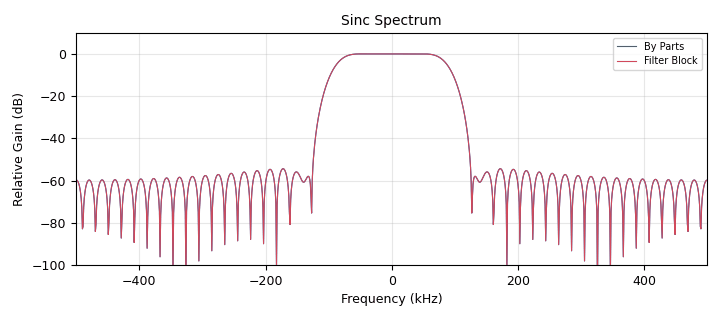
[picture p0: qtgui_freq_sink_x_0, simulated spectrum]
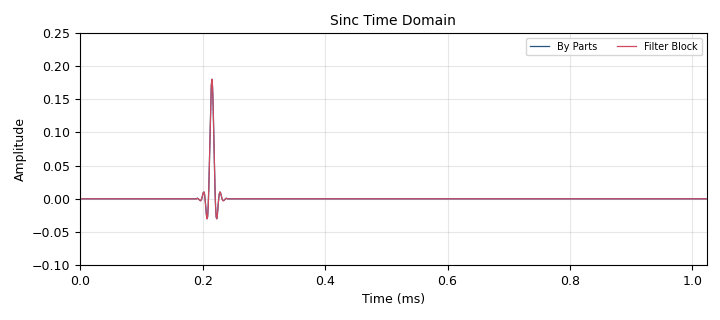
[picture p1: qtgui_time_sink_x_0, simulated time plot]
options:
  parameters:
    author: Gary Schafer
    generate_options: qt_gui
    id: basicSincSpectrumByParts
    output_language: python
    title: Sinc Time Domain = Square Spectrum (By Parts)
  states: {}

blocks:
- name: N
  id: variable
  parameters:
    value: 2**10
  states: {}
- name: lpf
  id: variable
  parameters:
    value: sig.firwin(49,90e3,window='hamming',fs=samp_rate)
  states: {}
- name: lpfLength
  id: variable
  parameters:
    value: len(lpf)
  states: {}
- name: samp_rate
  id: variable
  parameters:
    value: 1e6
  states: {}
- name: blocks_add_xx_0
  id: blocks_add_xx
  parameters:
    num_inputs: lpfLength
    type: float
  states: {}
- name: blocks_delay_0
  id: blocks_delay
  parameters:
    delay: '1'
    type: float
  states: {}
- name: blocks_delay_0_0
  id: blocks_delay
  parameters:
    delay: '1'
    type: float
  states: {}
- name: blocks_delay_0_1
  id: blocks_delay
  parameters:
    delay: '1'
    type: float
  states: {}
- name: blocks_delay_0_2
  id: blocks_delay
  parameters:
    delay: '1'
    type: float
  states: {}
- name: blocks_delay_0_2_0
  id: blocks_delay
  parameters:
    comment: '20'
    delay: '1'
    type: float
  states: {}
- name: blocks_delay_0_2_1
  id: blocks_delay
  parameters:
    comment: '10'
    delay: '1'
    type: float
  states: {}
- name: blocks_delay_0_3
  id: blocks_delay
  parameters:
    comment: '30'
    delay: '1'
    type: float
  states: {}
- name: blocks_delay_0_3_0
  id: blocks_delay
  parameters:
    delay: '1'
    type: float
  states: {}
- name: blocks_delay_0_3_1
  id: blocks_delay
  parameters:
    delay: '1'
    type: float
  states: {}
- name: blocks_delay_0_3_1_0
  id: blocks_delay
  parameters:
    delay: '1'
    type: float
  states: {}
- name: blocks_delay_0_4
  id: blocks_delay
  parameters:
    delay: '1'
    type: float
  states: {}
- name: blocks_delay_1
  id: blocks_delay
  parameters:
    comment: '45'
    delay: '1'
    type: float
  states: {}
- name: blocks_delay_1_0
  id: blocks_delay
  parameters:
    delay: '1'
    type: float
  states: {}
- name: blocks_delay_1_0_0
  id: blocks_delay
  parameters:
    comment: '47'
    delay: '1'
    type: float
  states: {}
- name: blocks_delay_1_0_0_0
  id: blocks_delay
  parameters:
    delay: '1'
    type: float
  states: {}
- name: blocks_delay_1_0_0_0_0
  id: blocks_delay
  parameters:
    comment: '40'
    delay: '1'
    type: float
  states: {}
- name: blocks_delay_1_0_0_0_1
  id: blocks_delay
  parameters:
    delay: '1'
    type: float
  states: {}
- name: blocks_delay_1_0_0_0_1_0
  id: blocks_delay
  parameters:
    delay: '1'
    type: float
  states: {}
- name: blocks_delay_1_0_0_0_1_1
  id: blocks_delay
  parameters:
    delay: '1'
    type: float
  states: {}
- name: blocks_delay_1_0_0_0_2
  id: blocks_delay
  parameters:
    delay: '1'
    type: float
  states: {}
- name: blocks_delay_1_0_0_0_2_0
  id: blocks_delay
  parameters:
    delay: '1'
    type: float
  states: {}
- name: blocks_delay_1_0_0_0_2_1
  id: blocks_delay
  parameters:
    delay: '1'
    type: float
  states: {}
- name: blocks_delay_1_0_0_0_3
  id: blocks_delay
  parameters:
    delay: '1'
    type: float
  states: {}
- name: blocks_delay_1_0_0_0_3_0
  id: blocks_delay
  parameters:
    delay: '1'
    type: float
  states: {}
- name: blocks_delay_1_0_0_0_3_1
  id: blocks_delay
  parameters:
    delay: '1'
    type: float
  states: {}
- name: blocks_delay_1_0_0_0_3_1_0
  id: blocks_delay
  parameters:
    delay: '1'
    type: float
  states: {}
- name: blocks_delay_1_0_0_0_3_1_0_0
  id: blocks_delay
  parameters:
    comment: '0'
    delay: '1'
    type: float
  states: {}
- name: blocks_delay_1_0_0_0_4
  id: blocks_delay
  parameters:
    delay: '1'
    type: float
  states: {}
- name: blocks_delay_1_0_0_1
  id: blocks_delay
  parameters:
    delay: '1'
    type: float
  states: {}
- name: blocks_delay_1_0_0_2
  id: blocks_delay
  parameters:
    delay: '1'
    type: float
  states: {}
- name: blocks_delay_1_0_0_3
  id: blocks_delay
  parameters:
    comment: '35'
    delay: '1'
    type: float
  states: {}
- name: blocks_delay_1_0_0_3_0
  id: blocks_delay
  parameters:
    delay: '1'
    type: float
  states: {}
- name: blocks_delay_1_0_0_3_1
  id: blocks_delay
  parameters:
    delay: '1'
    type: float
  states: {}
- name: blocks_delay_1_0_0_4
  id: blocks_delay
  parameters:
    delay: '1'
    type: float
  states: {}
- name: blocks_delay_1_0_0_4_0
  id: blocks_delay
  parameters:
    delay: '1'
    type: float
  states: {}
- name: blocks_delay_1_0_0_4_1
  id: blocks_delay
  parameters:
    delay: '1'
    type: float
  states: {}
- name: blocks_delay_1_0_0_5
  id: blocks_delay
  parameters:
    delay: '1'
    type: float
  states: {}
- name: blocks_delay_1_1
  id: blocks_delay
  parameters:
    delay: '1'
    type: float
  states: {}
- name: blocks_delay_1_1_0
  id: blocks_delay
  parameters:
    delay: '1'
    type: float
  states: {}
- name: blocks_delay_1_1_1
  id: blocks_delay
  parameters:
    delay: '1'
    type: float
  states: {}
- name: blocks_delay_1_2
  id: blocks_delay
  parameters:
    delay: '1'
    type: float
  states: {}
- name: blocks_delay_1_2_0
  id: blocks_delay
  parameters:
    delay: '1'
    type: float
  states: {}
- name: blocks_delay_1_2_1
  id: blocks_delay
  parameters:
    delay: '1'
    type: float
  states: {}
- name: blocks_delay_1_3
  id: blocks_delay
  parameters:
    delay: '1'
    type: float
  states: {}
- name: blocks_delay_1_3_0
  id: blocks_delay
  parameters:
    comment: '15'
    delay: '1'
    type: float
  states: {}
- name: blocks_delay_1_3_1
  id: blocks_delay
  parameters:
    comment: '5'
    delay: '1'
    type: float
  states: {}
- name: blocks_delay_1_3_1_0
  id: blocks_delay
  parameters:
    delay: '1'
    type: float
  states: {}
- name: blocks_delay_1_4
  id: blocks_delay
  parameters:
    comment: '25'
    delay: '1'
    type: float
  states: {}
- name: blocks_multiply_const_vxx_0
  id: blocks_multiply_const_vxx
  parameters:
    comment: '48'
    const: lpf[48]
    type: float
  states: {}
- name: blocks_multiply_const_vxx_0_0
  id: blocks_multiply_const_vxx
  parameters:
    const: lpf[44]
    type: float
  states: {}
- name: blocks_multiply_const_vxx_0_0_0
  id: blocks_multiply_const_vxx
  parameters:
    const: lpf[46]
    type: float
  states: {}
- name: blocks_multiply_const_vxx_0_0_0_0
  id: blocks_multiply_const_vxx
  parameters:
    const: lpf[45]
    type: float
  states: {}
- name: blocks_multiply_const_vxx_0_0_0_0_0
  id: blocks_multiply_const_vxx
  parameters:
    const: lpf[47]
    type: float
  states: {}
- name: blocks_multiply_const_vxx_0_0_0_0_0_0
  id: blocks_multiply_const_vxx
  parameters:
    const: lpf[41]
    type: float
  states: {}
- name: blocks_multiply_const_vxx_0_0_0_0_0_0_0
  id: blocks_multiply_const_vxx
  parameters:
    const: lpf[36]
    type: float
  states: {}
- name: blocks_multiply_const_vxx_0_0_0_0_0_0_1
  id: blocks_multiply_const_vxx
  parameters:
    const: lpf[31]
    type: float
  states: {}
- name: blocks_multiply_const_vxx_0_0_0_0_0_0_2
  id: blocks_multiply_const_vxx
  parameters:
    const: lpf[26]
    type: float
  states: {}
- name: blocks_multiply_const_vxx_0_0_0_0_0_0_3
  id: blocks_multiply_const_vxx
  parameters:
    const: lpf[21]
    type: float
  states: {}
- name: blocks_multiply_const_vxx_0_0_0_0_0_0_4
  id: blocks_multiply_const_vxx
  parameters:
    const: lpf[15]
    type: float
  states: {}
- name: blocks_multiply_const_vxx_0_0_0_0_0_0_5
  id: blocks_multiply_const_vxx
  parameters:
    const: lpf[10]
    type: float
  states: {}
- name: blocks_multiply_const_vxx_0_0_0_0_0_0_6
  id: blocks_multiply_const_vxx
  parameters:
    const: lpf[5]
    type: float
  states: {}
- name: blocks_multiply_const_vxx_0_0_0_0_0_0_7
  id: blocks_multiply_const_vxx
  parameters:
    const: lpf[1]
    type: float
  states: {}
- name: blocks_multiply_const_vxx_0_0_0_0_0_0_7_0
  id: blocks_multiply_const_vxx
  parameters:
    const: lpf[0]
    type: float
  states: {}
- name: blocks_multiply_const_vxx_0_0_0_0_1
  id: blocks_multiply_const_vxx
  parameters:
    const: lpf[39]
    type: float
  states: {}
- name: blocks_multiply_const_vxx_0_0_0_0_1_0
  id: blocks_multiply_const_vxx
  parameters:
    const: lpf[34]
    type: float
  states: {}
- name: blocks_multiply_const_vxx_0_0_0_0_1_1
  id: blocks_multiply_const_vxx
  parameters:
    const: lpf[29]
    type: float
  states: {}
- name: blocks_multiply_const_vxx_0_0_0_0_1_2
  id: blocks_multiply_const_vxx
  parameters:
    const: lpf[23]
    type: float
  states: {}
- name: blocks_multiply_const_vxx_0_0_0_0_1_3
  id: blocks_multiply_const_vxx
  parameters:
    const: lpf[20]
    type: float
  states: {}
- name: blocks_multiply_const_vxx_0_0_0_0_1_4
  id: blocks_multiply_const_vxx
  parameters:
    const: lpf[14]
    type: float
  states: {}
- name: blocks_multiply_const_vxx_0_0_0_0_1_5
  id: blocks_multiply_const_vxx
  parameters:
    const: lpf[9]
    type: float
  states: {}
- name: blocks_multiply_const_vxx_0_0_0_0_1_6
  id: blocks_multiply_const_vxx
  parameters:
    const: lpf[4]
    type: float
  states: {}
- name: blocks_multiply_const_vxx_0_0_0_1
  id: blocks_multiply_const_vxx
  parameters:
    const: lpf[40]
    type: float
  states: {}
- name: blocks_multiply_const_vxx_0_0_0_1_0
  id: blocks_multiply_const_vxx
  parameters:
    const: lpf[35]
    type: float
  states: {}
- name: blocks_multiply_const_vxx_0_0_0_1_1
  id: blocks_multiply_const_vxx
  parameters:
    const: lpf[30]
    type: float
  states: {}
- name: blocks_multiply_const_vxx_0_0_0_1_2
  id: blocks_multiply_const_vxx
  parameters:
    const: lpf[25]
    type: float
  states: {}
- name: blocks_multiply_const_vxx_0_0_0_1_3
  id: blocks_multiply_const_vxx
  parameters:
    const: lpf[19]
    type: float
  states: {}
- name: blocks_multiply_const_vxx_0_0_0_1_4
  id: blocks_multiply_const_vxx
  parameters:
    const: lpf[16]
    type: float
  states: {}
- name: blocks_multiply_const_vxx_0_0_0_1_5
  id: blocks_multiply_const_vxx
  parameters:
    const: lpf[12]
    type: float
  states: {}
- name: blocks_multiply_const_vxx_0_0_0_1_6
  id: blocks_multiply_const_vxx
  parameters:
    const: lpf[7]
    type: float
  states: {}
- name: blocks_multiply_const_vxx_0_0_1
  id: blocks_multiply_const_vxx
  parameters:
    const: lpf[38]
    type: float
  states: {}
- name: blocks_multiply_const_vxx_0_0_1_0
  id: blocks_multiply_const_vxx
  parameters:
    const: lpf[33]
    type: float
  states: {}
- name: blocks_multiply_const_vxx_0_0_1_1
  id: blocks_multiply_const_vxx
  parameters:
    const: lpf[28]
    type: float
  states: {}
- name: blocks_multiply_const_vxx_0_0_1_2
  id: blocks_multiply_const_vxx
  parameters:
    const: lpf[24]
    type: float
  states: {}
- name: blocks_multiply_const_vxx_0_0_1_3
  id: blocks_multiply_const_vxx
  parameters:
    const: lpf[18]
    type: float
  states: {}
- name: blocks_multiply_const_vxx_0_0_1_4
  id: blocks_multiply_const_vxx
  parameters:
    const: lpf[13]
    type: float
  states: {}
- name: blocks_multiply_const_vxx_0_0_1_5
  id: blocks_multiply_const_vxx
  parameters:
    const: lpf[8]
    type: float
  states: {}
- name: blocks_multiply_const_vxx_0_0_1_6
  id: blocks_multiply_const_vxx
  parameters:
    const: lpf[3]
    type: float
  states: {}
- name: blocks_multiply_const_vxx_0_1
  id: blocks_multiply_const_vxx
  parameters:
    const: lpf[42]
    type: float
  states: {}
- name: blocks_multiply_const_vxx_0_1_0
  id: blocks_multiply_const_vxx
  parameters:
    const: lpf[37]
    type: float
  states: {}
- name: blocks_multiply_const_vxx_0_1_1
  id: blocks_multiply_const_vxx
  parameters:
    const: lpf[32]
    type: float
  states: {}
- name: blocks_multiply_const_vxx_0_1_2
  id: blocks_multiply_const_vxx
  parameters:
    const: lpf[27]
    type: float
  states: {}
- name: blocks_multiply_const_vxx_0_1_3
  id: blocks_multiply_const_vxx
  parameters:
    const: lpf[22]
    type: float
  states: {}
- name: blocks_multiply_const_vxx_0_1_4
  id: blocks_multiply_const_vxx
  parameters:
    const: lpf[17]
    type: float
  states: {}
- name: blocks_multiply_const_vxx_0_1_5
  id: blocks_multiply_const_vxx
  parameters:
    const: lpf[11]
    type: float
  states: {}
- name: blocks_multiply_const_vxx_0_1_6
  id: blocks_multiply_const_vxx
  parameters:
    const: lpf[6]
    type: float
  states: {}
- name: blocks_multiply_const_vxx_0_1_7
  id: blocks_multiply_const_vxx
  parameters:
    const: lpf[2]
    type: float
  states: {}
- name: blocks_multiply_const_vxx_0_1_8
  id: blocks_multiply_const_vxx
  parameters:
    const: lpf[43]
    type: float
  states: {}
- name: blocks_multiply_const_vxx_1
  id: blocks_multiply_const_vxx
  parameters:
    const: N
    type: float
  states: {}
- name: blocks_multiply_const_vxx_1_0
  id: blocks_multiply_const_vxx
  parameters:
    const: N
    type: float
  states: {}
- name: blocks_throttle_0
  id: blocks_throttle
  parameters:
    samples_per_second: samp_rate
    type: float
  states: {}
- name: blocks_vector_source_x_0
  id: blocks_vector_source_x
  parameters:
    repeat: 'True'
    type: float
    vector: (0,)*int(N/2-1)+(1,)+(0,)*int(N/2)
  states: {}
- name: fir_filter_xxx_0
  id: fir_filter_xxx
  parameters:
    decim: '1'
    taps: lpf
    type: fff
  states: {}
- name: import_0
  id: import
  parameters:
    imports: import numpy as np
  states: {}
- name: import_1
  id: import
  parameters:
    imports: import scipy.signal as sig
  states: {}
- name: qtgui_freq_sink_x_0
  id: qtgui_freq_sink_x
  parameters:
    bw: samp_rate
    color1: '"black"'
    fc: '0'
    fftsize: N
    grid: 'True'
    label1: By Parts
    label2: Filter Block
    name: Sinc Spectrum
    nconnections: '2'
    type: float
    width1: '2'
    wintype: window.WIN_RECTANGULAR
    ymin: '-100'
  states: {}
- name: qtgui_time_sink_x_0
  id: qtgui_time_sink_x
  parameters:
    color1: black
    grid: 'True'
    label1: By Parts
    label2: Filter Block
    name: Sinc Time Domain
    nconnections: '2'
    size: N
    srate: samp_rate
    type: float
    ymax: '0.25'
    ymin: '-0.1'
  states: {}

connections:
- [blocks_add_xx_0, '0', blocks_multiply_const_vxx_1, '0']
- [blocks_add_xx_0, '0', qtgui_time_sink_x_0, '0']
- [blocks_delay_0, '0', blocks_delay_1, '0']
- [blocks_delay_0, '0', blocks_multiply_const_vxx_0_0_0, '0']
- [blocks_delay_0_0, '0', blocks_delay_1_0, '0']
- [blocks_delay_0_0, '0', blocks_multiply_const_vxx_0_1, '0']
- [blocks_delay_0_1, '0', blocks_delay_1_1, '0']
- [blocks_delay_0_1, '0', blocks_multiply_const_vxx_0_0_1, '0']
- [blocks_delay_0_2, '0', blocks_delay_1_2, '0']
- [blocks_delay_0_2, '0', blocks_multiply_const_vxx_0_0_0_0_1_0, '0']
- [blocks_delay_0_2_0, '0', blocks_delay_1_2_0, '0']
- [blocks_delay_0_2_0, '0', blocks_multiply_const_vxx_0_0_0_0_1_3, '0']
- [blocks_delay_0_2_1, '0', blocks_delay_1_2_1, '0']
- [blocks_delay_0_2_1, '0', blocks_multiply_const_vxx_0_0_0_0_0_0_5, '0']
- [blocks_delay_0_3, '0', blocks_delay_1_3, '0']
- [blocks_delay_0_3, '0', blocks_multiply_const_vxx_0_0_0_1_1, '0']
- [blocks_delay_0_3_0, '0', blocks_delay_1_3_0, '0']
- [blocks_delay_0_3_0, '0', blocks_multiply_const_vxx_0_0_0_1_4, '0']
- [blocks_delay_0_3_1, '0', blocks_delay_1_3_1, '0']
- [blocks_delay_0_3_1, '0', blocks_multiply_const_vxx_0_1_6, '0']
- [blocks_delay_0_3_1_0, '0', blocks_delay_1_3_1_0, '0']
- [blocks_delay_0_3_1_0, '0', blocks_multiply_const_vxx_0_0_1_6, '0']
- [blocks_delay_0_4, '0', blocks_delay_1_4, '0']
- [blocks_delay_0_4, '0', blocks_multiply_const_vxx_0_0_0_0_0_0_2, '0']
- [blocks_delay_1, '0', blocks_delay_1_0_0_0, '0']
- [blocks_delay_1, '0', blocks_multiply_const_vxx_0_0_0_0, '0']
- [blocks_delay_1_0, '0', blocks_delay_1_0_0_0_0, '0']
- [blocks_delay_1_0, '0', blocks_multiply_const_vxx_0_0_0_0_0_0, '0']
- [blocks_delay_1_0_0, '0', blocks_delay_0, '0']
- [blocks_delay_1_0_0, '0', blocks_multiply_const_vxx_0_0_0_0_0, '0']
- [blocks_delay_1_0_0_0, '0', blocks_delay_1_0_0_1, '0']
- [blocks_delay_1_0_0_0, '0', blocks_multiply_const_vxx_0_0, '0']
- [blocks_delay_1_0_0_0_0, '0', blocks_delay_1_0_0_2, '0']
- [blocks_delay_1_0_0_0_0, '0', blocks_multiply_const_vxx_0_0_0_1, '0']
- [blocks_delay_1_0_0_0_1, '0', blocks_delay_1_0_0_3, '0']
- [blocks_delay_1_0_0_0_1, '0', blocks_multiply_const_vxx_0_0_0_0_0_0_0, '0']
- [blocks_delay_1_0_0_0_1_0, '0', blocks_delay_1_0_0_3_0, '0']
- [blocks_delay_1_0_0_0_1_0, '0', blocks_multiply_const_vxx_0_1_3, '0']
- [blocks_delay_1_0_0_0_1_1, '0', blocks_delay_1_0_0_3_1, '0']
- [blocks_delay_1_0_0_0_1_1, '0', blocks_multiply_const_vxx_0_0_0_1_5, '0']
- [blocks_delay_1_0_0_0_2, '0', blocks_delay_1_0_0_4, '0']
- [blocks_delay_1_0_0_0_2, '0', blocks_multiply_const_vxx_0_1_1, '0']
- [blocks_delay_1_0_0_0_2_0, '0', blocks_delay_1_0_0_4_0, '0']
- [blocks_delay_1_0_0_0_2_0, '0', blocks_multiply_const_vxx_0_0_1_3, '0']
- [blocks_delay_1_0_0_0_2_1, '0', blocks_delay_1_0_0_4_1, '0']
- [blocks_delay_1_0_0_0_2_1, '0', blocks_multiply_const_vxx_0_0_1_5, '0']
- [blocks_delay_1_0_0_0_3, '0', blocks_delay_1_0_0_5, '0']
- [blocks_delay_1_0_0_0_3, '0', blocks_multiply_const_vxx_0_0_1_1, '0']
- [blocks_delay_1_0_0_0_3_0, '0', blocks_delay_1_1_1, '0']
- [blocks_delay_1_0_0_0_3_0, '0', blocks_multiply_const_vxx_0_0_0_0_1_4, '0']
- [blocks_delay_1_0_0_0_3_1, '0', blocks_delay_0_3_1_0, '0']
- [blocks_delay_1_0_0_0_3_1, '0', blocks_multiply_const_vxx_0_0_0_0_1_6, '0']
- [blocks_delay_1_0_0_0_3_1_0, '0', blocks_delay_1_0_0_0_3_1_0_0, '0']
- [blocks_delay_1_0_0_0_3_1_0, '0', blocks_multiply_const_vxx_0_0_0_0_0_0_7, '0']
- [blocks_delay_1_0_0_0_3_1_0_0, '0', blocks_multiply_const_vxx_0_0_0_0_0_0_7_0, '0']
- [blocks_delay_1_0_0_0_4, '0', blocks_delay_1_1_0, '0']
- [blocks_delay_1_0_0_0_4, '0', blocks_multiply_const_vxx_0_0_1_2, '0']
- [blocks_delay_1_0_0_1, '0', blocks_delay_0_0, '0']
- [blocks_delay_1_0_0_1, '0', blocks_multiply_const_vxx_0_1_8, '0']
- [blocks_delay_1_0_0_2, '0', blocks_delay_0_1, '0']
- [blocks_delay_1_0_0_2, '0', blocks_multiply_const_vxx_0_0_0_0_1, '0']
- [blocks_delay_1_0_0_3, '0', blocks_delay_0_2, '0']
- [blocks_delay_1_0_0_3, '0', blocks_multiply_const_vxx_0_0_0_1_0, '0']
- [blocks_delay_1_0_0_3_0, '0', blocks_delay_0_2_0, '0']
- [blocks_delay_1_0_0_3_0, '0', blocks_multiply_const_vxx_0_0_0_0_0_0_3, '0']
- [blocks_delay_1_0_0_3_1, '0', blocks_delay_0_2_1, '0']
- [blocks_delay_1_0_0_3_1, '0', blocks_multiply_const_vxx_0_1_5, '0']
- [blocks_delay_1_0_0_4, '0', blocks_delay_0_3, '0']
- [blocks_delay_1_0_0_4, '0', blocks_multiply_const_vxx_0_0_0_0_0_0_1, '0']
- [blocks_delay_1_0_0_4_0, '0', blocks_delay_0_3_0, '0']
- [blocks_delay_1_0_0_4_0, '0', blocks_multiply_const_vxx_0_1_4, '0']
- [blocks_delay_1_0_0_4_1, '0', blocks_delay_0_3_1, '0']
- [blocks_delay_1_0_0_4_1, '0', blocks_multiply_const_vxx_0_0_0_1_6, '0']
- [blocks_delay_1_0_0_5, '0', blocks_delay_0_4, '0']
- [blocks_delay_1_0_0_5, '0', blocks_multiply_const_vxx_0_1_2, '0']
- [blocks_delay_1_1, '0', blocks_delay_1_0_0_0_1, '0']
- [blocks_delay_1_1, '0', blocks_multiply_const_vxx_0_1_0, '0']
- [blocks_delay_1_1_0, '0', blocks_delay_1_0_0_0_1_0, '0']
- [blocks_delay_1_1_0, '0', blocks_multiply_const_vxx_0_0_0_0_1_2, '0']
- [blocks_delay_1_1_1, '0', blocks_delay_1_0_0_0_1_1, '0']
- [blocks_delay_1_1_1, '0', blocks_multiply_const_vxx_0_0_1_4, '0']
- [blocks_delay_1_2, '0', blocks_delay_1_0_0_0_2, '0']
- [blocks_delay_1_2, '0', blocks_multiply_const_vxx_0_0_1_0, '0']
- [blocks_delay_1_2_0, '0', blocks_delay_1_0_0_0_2_0, '0']
- [blocks_delay_1_2_0, '0', blocks_multiply_const_vxx_0_0_0_1_3, '0']
- [blocks_delay_1_2_1, '0', blocks_delay_1_0_0_0_2_1, '0']
- [blocks_delay_1_2_1, '0', blocks_multiply_const_vxx_0_0_0_0_1_5, '0']
- [blocks_delay_1_3, '0', blocks_delay_1_0_0_0_3, '0']
- [blocks_delay_1_3, '0', blocks_multiply_const_vxx_0_0_0_0_1_1, '0']
- [blocks_delay_1_3_0, '0', blocks_delay_1_0_0_0_3_0, '0']
- [blocks_delay_1_3_0, '0', blocks_multiply_const_vxx_0_0_0_0_0_0_4, '0']
- [blocks_delay_1_3_1, '0', blocks_delay_1_0_0_0_3_1, '0']
- [blocks_delay_1_3_1, '0', blocks_multiply_const_vxx_0_0_0_0_0_0_6, '0']
- [blocks_delay_1_3_1_0, '0', blocks_delay_1_0_0_0_3_1_0, '0']
- [blocks_delay_1_3_1_0, '0', blocks_multiply_const_vxx_0_1_7, '0']
- [blocks_delay_1_4, '0', blocks_delay_1_0_0_0_4, '0']
- [blocks_delay_1_4, '0', blocks_multiply_const_vxx_0_0_0_1_2, '0']
- [blocks_multiply_const_vxx_0, '0', blocks_add_xx_0, '0']
- [blocks_multiply_const_vxx_0_0, '0', blocks_add_xx_0, '4']
- [blocks_multiply_const_vxx_0_0_0, '0', blocks_add_xx_0, '2']
- [blocks_multiply_const_vxx_0_0_0_0, '0', blocks_add_xx_0, '3']
- [blocks_multiply_const_vxx_0_0_0_0_0, '0', blocks_add_xx_0, '1']
- [blocks_multiply_const_vxx_0_0_0_0_0_0, '0', blocks_add_xx_0, '7']
- [blocks_multiply_const_vxx_0_0_0_0_0_0_0, '0', blocks_add_xx_0, '12']
- [blocks_multiply_const_vxx_0_0_0_0_0_0_1, '0', blocks_add_xx_0, '17']
- [blocks_multiply_const_vxx_0_0_0_0_0_0_2, '0', blocks_add_xx_0, '22']
- [blocks_multiply_const_vxx_0_0_0_0_0_0_3, '0', blocks_add_xx_0, '27']
- [blocks_multiply_const_vxx_0_0_0_0_0_0_4, '0', blocks_add_xx_0, '33']
- [blocks_multiply_const_vxx_0_0_0_0_0_0_5, '0', blocks_add_xx_0, '38']
- [blocks_multiply_const_vxx_0_0_0_0_0_0_6, '0', blocks_add_xx_0, '43']
- [blocks_multiply_const_vxx_0_0_0_0_0_0_7, '0', blocks_add_xx_0, '47']
- [blocks_multiply_const_vxx_0_0_0_0_0_0_7_0, '0', blocks_add_xx_0, '48']
- [blocks_multiply_const_vxx_0_0_0_0_1, '0', blocks_add_xx_0, '9']
- [blocks_multiply_const_vxx_0_0_0_0_1_0, '0', blocks_add_xx_0, '14']
- [blocks_multiply_const_vxx_0_0_0_0_1_1, '0', blocks_add_xx_0, '19']
- [blocks_multiply_const_vxx_0_0_0_0_1_2, '0', blocks_add_xx_0, '25']
- [blocks_multiply_const_vxx_0_0_0_0_1_3, '0', blocks_add_xx_0, '28']
- [blocks_multiply_const_vxx_0_0_0_0_1_4, '0', blocks_add_xx_0, '34']
- [blocks_multiply_const_vxx_0_0_0_0_1_5, '0', blocks_add_xx_0, '39']
- [blocks_multiply_const_vxx_0_0_0_0_1_6, '0', blocks_add_xx_0, '44']
- [blocks_multiply_const_vxx_0_0_0_1, '0', blocks_add_xx_0, '8']
- [blocks_multiply_const_vxx_0_0_0_1_0, '0', blocks_add_xx_0, '13']
- [blocks_multiply_const_vxx_0_0_0_1_1, '0', blocks_add_xx_0, '18']
- [blocks_multiply_const_vxx_0_0_0_1_2, '0', blocks_add_xx_0, '23']
- [blocks_multiply_const_vxx_0_0_0_1_3, '0', blocks_add_xx_0, '29']
- [blocks_multiply_const_vxx_0_0_0_1_4, '0', blocks_add_xx_0, '32']
- [blocks_multiply_const_vxx_0_0_0_1_5, '0', blocks_add_xx_0, '36']
- [blocks_multiply_const_vxx_0_0_0_1_6, '0', blocks_add_xx_0, '41']
- [blocks_multiply_const_vxx_0_0_1, '0', blocks_add_xx_0, '10']
- [blocks_multiply_const_vxx_0_0_1_0, '0', blocks_add_xx_0, '15']
- [blocks_multiply_const_vxx_0_0_1_1, '0', blocks_add_xx_0, '20']
- [blocks_multiply_const_vxx_0_0_1_2, '0', blocks_add_xx_0, '24']
- [blocks_multiply_const_vxx_0_0_1_3, '0', blocks_add_xx_0, '30']
- [blocks_multiply_const_vxx_0_0_1_4, '0', blocks_add_xx_0, '35']
- [blocks_multiply_const_vxx_0_0_1_5, '0', blocks_add_xx_0, '40']
- [blocks_multiply_const_vxx_0_0_1_6, '0', blocks_add_xx_0, '45']
- [blocks_multiply_const_vxx_0_1, '0', blocks_add_xx_0, '6']
- [blocks_multiply_const_vxx_0_1_0, '0', blocks_add_xx_0, '11']
- [blocks_multiply_const_vxx_0_1_1, '0', blocks_add_xx_0, '16']
- [blocks_multiply_const_vxx_0_1_2, '0', blocks_add_xx_0, '21']
- [blocks_multiply_const_vxx_0_1_3, '0', blocks_add_xx_0, '26']
- [blocks_multiply_const_vxx_0_1_4, '0', blocks_add_xx_0, '31']
- [blocks_multiply_const_vxx_0_1_5, '0', blocks_add_xx_0, '37']
- [blocks_multiply_const_vxx_0_1_6, '0', blocks_add_xx_0, '42']
- [blocks_multiply_const_vxx_0_1_7, '0', blocks_add_xx_0, '46']
- [blocks_multiply_const_vxx_0_1_8, '0', blocks_add_xx_0, '5']
- [blocks_multiply_const_vxx_1, '0', qtgui_freq_sink_x_0, '0']
- [blocks_multiply_const_vxx_1_0, '0', qtgui_freq_sink_x_0, '1']
- [blocks_throttle_0, '0', blocks_delay_1_0_0, '0']
- [blocks_throttle_0, '0', blocks_multiply_const_vxx_0, '0']
- [blocks_throttle_0, '0', fir_filter_xxx_0, '0']
- [blocks_vector_source_x_0, '0', blocks_throttle_0, '0']
- [fir_filter_xxx_0, '0', blocks_multiply_const_vxx_1_0, '0']
- [fir_filter_xxx_0, '0', qtgui_time_sink_x_0, '1']

metadata:
  file_format: 1
  grc_version: 3.10.9.2
